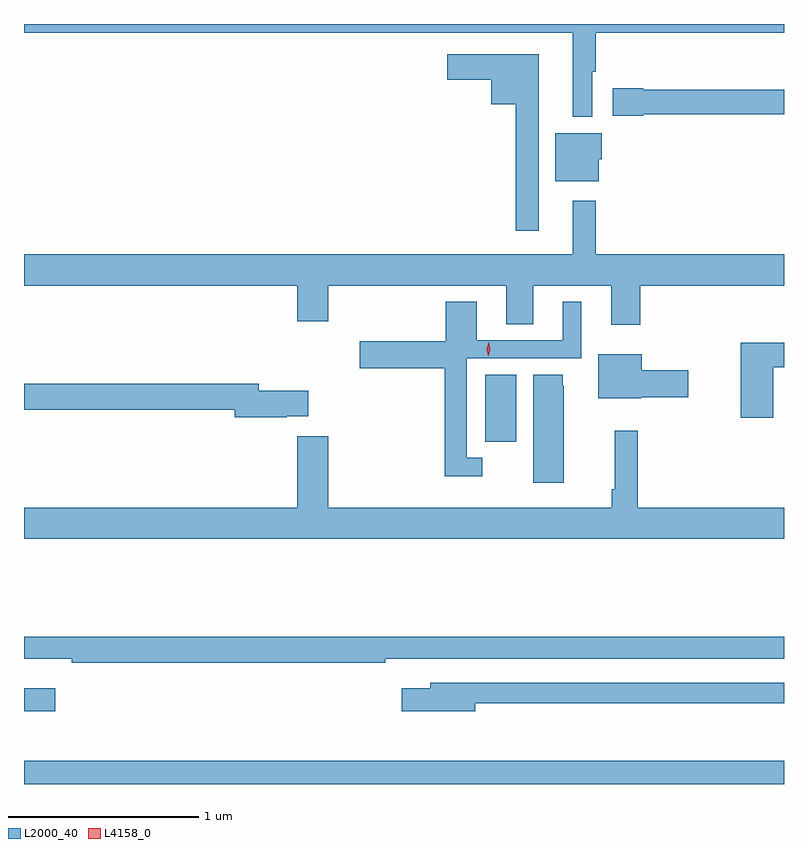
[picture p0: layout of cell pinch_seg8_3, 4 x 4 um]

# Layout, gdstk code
import gdstk
lib = gdstk.Library(unit=1e-6, precision=1e-09)
def R(c, l, rs):  # rectangles x0, y0, x1, y1
    for r in rs: c.add(gdstk.rectangle(r[:2], r[2:], *l))
def P(c, l, *ps):  # polygons
    for p in ps: c.add(gdstk.Polygon(p, *l))
L2000_40 = (2000, 40)
L4158_0 = (4158, 0)

pinch_seg8_3 = lib.new_cell('pinch_seg8_3')
R(pinch_seg8_3, L2000_40, [(1002.73,1139.185,1006.73,1139.308), (1002.73,1139.567,1002.895,1139.689), (1005.158,1140.987,1005.322,1141.34)])
P(pinch_seg8_3, L2000_40, [(1005.721,1142.935),(1005.739,1142.935),(1005.739,1143.14),(1006.73,1143.14),(1006.73,1143.185),(1002.73,1143.185),(1002.73,1143.14),(1005.617,1143.14),(1005.617,1142.696),(1005.721,1142.696)],
  [(1005.439,1143.025),(1004.958,1143.025),(1004.958,1142.891),(1005.188,1142.891),(1005.188,1142.762),(1005.318,1142.762),(1005.318,1142.097),(1005.439,1142.097)],
  [(1005.99,1142.71),(1006.73,1142.71),(1006.73,1142.839),(1005.99,1142.839),(1005.99,1142.847),(1005.828,1142.847),(1005.828,1142.702),(1005.99,1142.702)],
  [(1005.754,1142.472),(1005.772,1142.472),(1005.772,1142.611),(1005.527,1142.611),(1005.527,1142.357),(1005.754,1142.357)],
  [(1005.974,1141.808),(1006.73,1141.808),(1006.73,1141.972),(1005.739,1141.972),(1005.739,1142.254),(1005.617,1142.254),(1005.617,1141.972),(1002.73,1141.972),(1002.73,1141.808),(1004.168,1141.808),(1004.168,1141.62),(1004.332,1141.62),(1004.332,1141.808),(1005.269,1141.808),(1005.269,1141.606),(1005.409,1141.606),(1005.409,1141.808),(1005.821,1141.808),(1005.821,1141.602),(1005.974,1141.602)],
  [(1005.142,1140.903),(1005.06,1140.903),(1005.06,1141.425),(1005.664,1141.425),(1005.664,1141.723),(1005.566,1141.723),(1005.566,1141.521),(1005.112,1141.521),(1005.112,1141.723),(1004.951,1141.723),(1004.951,1141.515),(1004.496,1141.515),(1004.496,1141.373),(1004.944,1141.373),(1004.944,1140.806),(1005.142,1140.806)],
  [(1006.673,1141.378),(1006.73,1141.378),(1006.73,1141.507),(1006.502,1141.507),(1006.502,1141.113),(1006.673,1141.113)],
  [(1005.978,1141.22),(1006.225,1141.22),(1006.225,1141.362),(1005.982,1141.362),(1005.982,1141.447),(1005.752,1141.447),(1005.752,1141.214),(1005.978,1141.214)],
  [(1005.571,1141.281),(1005.565,1141.281),(1005.565,1141.34),(1005.41,1141.34),(1005.41,1140.771),(1005.571,1140.771)],
  [(1004.114,1141.121),(1004.227,1141.121),(1004.227,1141.256),(1003.966,1141.256),(1003.966,1141.292),(1002.73,1141.292),(1002.73,1141.156),(1003.838,1141.156),(1003.838,1141.114),(1004.114,1141.114)],
  [(1006.73,1140.64),(1005.959,1140.64),(1005.959,1141.045),(1005.838,1141.045),(1005.838,1140.736),(1005.823,1140.736),(1005.823,1140.64),(1004.332,1140.64),(1004.332,1141.015),(1004.168,1141.015),(1004.168,1140.64),(1002.73,1140.64),(1002.73,1140.476),(1006.73,1140.476)],
  [(1004.63,1139.844),(1006.73,1139.844),(1006.73,1139.96),(1002.73,1139.96),(1002.73,1139.843),(1002.982,1139.843),(1002.982,1139.824),(1004.63,1139.824)],
  [(1005.106,1139.61),(1006.73,1139.61),(1006.73,1139.718),(1004.867,1139.718),(1004.867,1139.689),(1004.718,1139.689),(1004.718,1139.567),(1005.106,1139.567)])
P(pinch_seg8_3, L4158_0, [(1005.173,1141.437),(1005.173,1141.437),(1005.165,1141.474),(1005.176,1141.509),(1005.176,1141.51),(1005.176,1141.509),(1005.184,1141.473),(1005.173,1141.437)])

lib.write_gds('pinch_seg8_3.gds')
